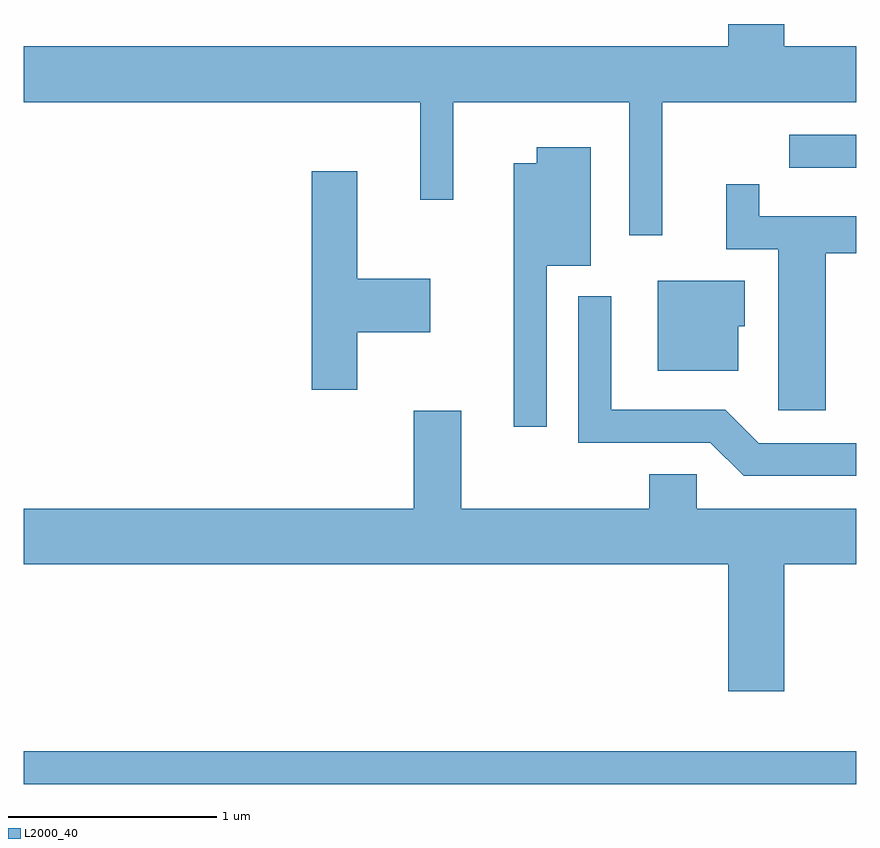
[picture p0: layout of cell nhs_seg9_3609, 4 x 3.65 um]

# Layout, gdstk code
import gdstk
lib = gdstk.Library(unit=1e-6, precision=1e-09)
def R(c, l, rs):  # rectangles x0, y0, x1, y1
    for r in rs: c.add(gdstk.rectangle(r[:2], r[2:], *l))
def P(c, l, *ps):  # polygons
    for p in ps: c.add(gdstk.Polygon(p, *l))
L2000_40 = (2000, 40)

nhs_seg9_3609 = lib.new_cell('nhs_seg9_3609')
R(nhs_seg9_3609, L2000_40, [(291.611,1970.781,295.611,1970.939), (295.288,1973.741,295.611,1973.899)])
P(nhs_seg9_3609, L2000_40, [(294.679,1974.056),(295.611,1974.056),(295.611,1974.324),(295.264,1974.324),(295.264,1974.432),(294.996,1974.432),(294.996,1974.324),(291.611,1974.324),(291.611,1974.056),(293.516,1974.056),(293.516,1973.588),(293.674,1973.588),(293.674,1974.056),(294.521,1974.056),(294.521,1973.418),(294.679,1973.418)],
  [(294.124,1973.271),(294.334,1973.271),(294.334,1973.839),(294.076,1973.839),(294.076,1973.764),(293.966,1973.764),(293.966,1972.498),(294.124,1972.498)],
  [(293.214,1972.951),(293.564,1972.951),(293.564,1973.209),(293.214,1973.209),(293.214,1973.724),(292.996,1973.724),(292.996,1972.676),(293.214,1972.676)],
  [(295.464,1973.331),(295.611,1973.331),(295.611,1973.509),(295.144,1973.509),(295.144,1973.663),(294.986,1973.663),(294.986,1973.351),(295.236,1973.351),(295.236,1972.576),(295.464,1972.576)],
  [(295.044,1972.981),(295.074,1972.981),(295.074,1973.199),(294.656,1973.199),(294.656,1972.766),(295.044,1972.766)],
  [(295.611,1972.419),(295.142,1972.419),(294.982,1972.579),(294.434,1972.579),(294.434,1973.123),(294.276,1973.123),(294.276,1972.421),(294.909,1972.421),(295.069,1972.261),(295.611,1972.261)],
  [(295.264,1971.836),(295.611,1971.836),(295.611,1972.104),(294.844,1972.104),(294.844,1972.269),(294.616,1972.269),(294.616,1972.104),(293.714,1972.104),(293.714,1972.574),(293.486,1972.574),(293.486,1972.104),(291.611,1972.104),(291.611,1971.836),(294.996,1971.836),(294.996,1971.226),(295.264,1971.226)])

lib.write_gds('nhs_seg9_3609.gds')
